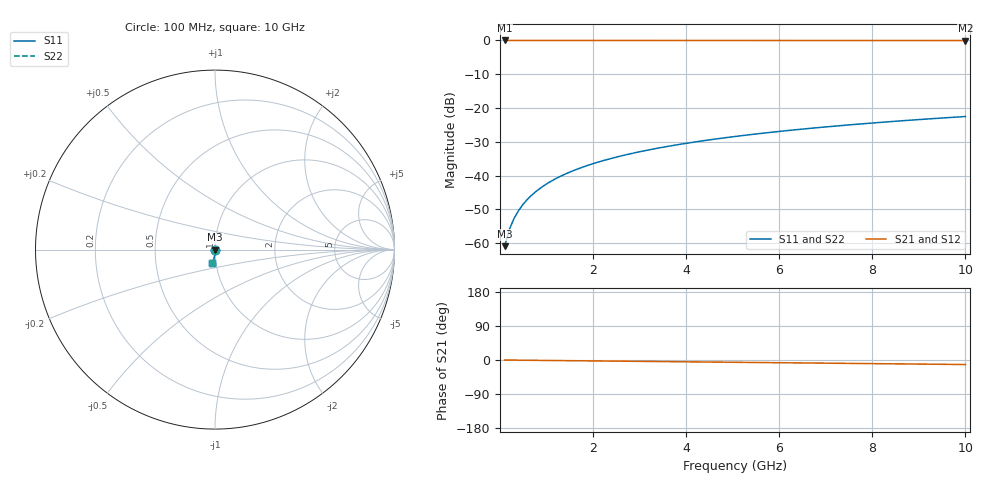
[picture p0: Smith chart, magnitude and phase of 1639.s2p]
# Hz S RI R 50.00
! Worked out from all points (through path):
!   100 points, 100 MHz to 10 GHz, reference 50 ohm
!   highest |S21| = 0.00 dB at 100 MHz (marker M1); lowest = 0.0 dB at 10 GHz (marker M2)
!   group delay of S21, straight-line fit = 3.32 ps
!   lowest |S11| = -60.9 dB at 100 MHz (marker M3), VSWR 1.00, Z = 50.1 - j0.0752 ohm
!   |S11| at or under -10 dB: start of sweep to end of sweep
!   |S22| runs from -60.9 to -22.5 dB; largest |S21 - S12| = 0
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1e8  0.000503 -0.000751  0.9995 -0.00208  0.9995 -0.00208  0.000503 -0.000751
2e8  0.0005 -0.0015  0.9995 -0.00416  0.9995 -0.00416  0.0005 -0.0015
3e8  0.000494 -0.00225  0.9995 -0.00624  0.9995 -0.00624  0.000494 -0.00225
4e8  0.000483 -0.00301  0.9994 -0.00832  0.9994 -0.00832  0.000483 -0.00301
5e8  0.00047 -0.00376  0.9994 -0.0104  0.9994 -0.0104  0.00047 -0.00376
6e8  0.000453 -0.00451  0.9994 -0.0125  0.9994 -0.0125  0.000453 -0.00451
7e8  0.000433 -0.00526  0.9994 -0.0146  0.9994 -0.0146  0.000433 -0.00526
8e8  0.000409 -0.00601  0.9993 -0.0166  0.9993 -0.0166  0.000409 -0.00601
9e8  0.000382 -0.00676  0.9993 -0.0187  0.9993 -0.0187  0.000382 -0.00676
1.1e9  0.000319 -0.00826  0.9992 -0.0229  0.9992 -0.0229  0.000319 -0.00826
1.4e9  0.000201 -0.0105  0.999 -0.0291  0.999 -0.0291  0.000201 -0.0105
1.8e9  -6.89e-07 -0.0135  0.9987 -0.0374  0.9987 -0.0374  -6.89e-07 -0.0135
2.1e9  -0.000185 -0.0158  0.9984 -0.0437  0.9984 -0.0437  -0.000185 -0.0158
2.5e9  -0.000475 -0.0188  0.9979 -0.052  0.9979 -0.052  -0.000475 -0.0188
2.9e9  -0.000815 -0.0218  0.9974 -0.0603  0.9974 -0.0603  -0.000815 -0.0218
3.4e9  -0.00131 -0.0255  0.9966 -0.0707  0.9966 -0.0707  -0.00131 -0.0255
4.2e9  -0.00227 -0.0315  0.9951 -0.0873  0.9951 -0.0873  -0.00227 -0.0315
5.1e9  -0.00358 -0.0381  0.993 -0.1059  0.993 -0.1059  -0.00358 -0.0381
5.9e9  -0.00496 -0.044  0.9908 -0.1225  0.9908 -0.1225  -0.00496 -0.044
6.7e9  -0.00653 -0.0499  0.9883 -0.139  0.9883 -0.139  -0.00653 -0.0499
8.4e9  -0.0105 -0.0621  0.982 -0.1739  0.982 -0.1739  -0.0105 -0.0621
1e10  -0.0151 -0.0734  0.9748 -0.2066  0.9748 -0.2066  -0.0151 -0.0734
